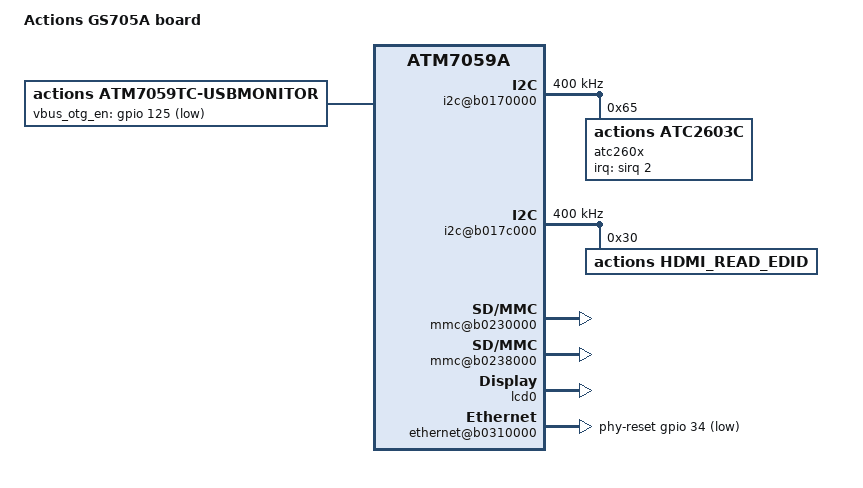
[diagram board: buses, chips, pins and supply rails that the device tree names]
/dts-v1/;

/include/ "actduino.dtsi"
#include <dt-bindings/input/input.h>

/ {
	model = "Actions GS705A board";
	compatible = "actions,gs705a", "actions,atm7059a";
	chosen {
		bootargs = "console=ttyS5 loglevel=7";
	};

	clock:0b0160000 {
		compatible = "actions,owl-clk";
		core_pll = <0x332>;
		dev_pll = <0x1164>;
		bus_pll = <0x1c710000>;
		display_pll = <0x164>;
		bus1_pll = <0x2e004>;
		clk_spead = <0x0>;
	};
	
	gpio_int {
		initgpio_A=<23 0 0>,<25 0 0>;/*<x1,x2,x3>,x1=PIN,x2=(0=OUT,1=IN),x3=IOVAL*/
		initgpio_B=<23 0 0>;
	};
    
	reserved {
		tiny {
			fb_heap_size = <4>;
			kinfo_heap_size = <1>;
			carveout_heap_size = <40>;
			dma_heap_size = <128>;
		};
		normal {
			fb_heap_size = <8>;
			kinfo_heap_size = <1>;
			carveout_heap_size = <244>;
			dma_heap_size = <98>;
		};
	};
	
	pinctrl@b01b0040 {
		pinctrl-names = "default";
		pinctrl-0 = <&state_default>;

		state_default: pinctrl_default {
		};

		i2c0_state_default: i2c0_default {/* i2c0 use default pin	*/
			i2c0_default_mfp {
				actions,groups = "mfp3_18_16";
				actions,function = "i2c0";
			};

			i2c0_default_paddrv {
				actions,groups = "paddrv2_24_23";
				actions,paddrv = <0>;/*level 1*/
			};

			i2c0_default_pull_up {
				actions,pins = "P_I2C0_SCLK","P_I2C0_SDATA";
				actions,pull = <2>; /*pull up*/
			};
		};

		i2c0_state_over_uart0: i2c0_over_uart0 {/* i2c0 use uart0 pin	*/
			i2c0_over_uart0_mfp {
				actions,groups = "mfp2_2_0", "mfp3_21_19";
				actions,function = "i2c0";
			};

			i2c0_over_uart0_paddrv {
				actions,groups = "paddrv2_31_30","paddrv2_29_28";
				actions,paddrv = <0>;/*level 1*/
			};

			i2c0_over_uart0_pull_up {
				actions,pins = "P_UART0_RX","P_UART0_TX";
				actions,pull = <2>; /*pull up*/
			};
		};	

		i2c1_state_default: i2c1_default {/* i2c1 use default pin	*/
			i2c1_default_mfp {
				actions,groups = "i2c1_dummy";
				actions,function = "i2c1";
			};

			i2c1_default_paddrv {
				actions,groups = "paddrv2_22_21";
				actions,paddrv = <0>;/*level 1*/
			};

			i2c1_default_pull_up {
				actions,pins = "P_I2C1_SCLK","P_I2C1_SDATA";
				actions,pull = <0>;	/*stay disabled*/
			};
		};

		i2c2_state_default: i2c2_default {/* i2c2 use default pin*/
			i2c2_default_mfp {
				actions,groups = "i2c2_dummy";
				actions,function = "i2c2";
			};

			i2c2_default_paddrv {
				actions,groups = "paddrv2_22_21";
				actions,paddrv = <0>;/*level 1*/
			};

			i2c2_default_pull_up {
				actions,pins = "P_I2C2_SCLK","P_I2C2_SDATA";
				actions,pull = <2>; /*pull up*/
			};
		};
		
		i2c3_state_over_spi0: i2c3_over_spi0 {/* i2c3 use spi0 pin	*/
			i2c3_over_spi0_mfp {
				actions,groups = "mfp1_4_3";
				actions,function = "i2c3";
			};

			i2c3_over_spi0_paddrv {
				actions,groups = "paddrv1_11_10";
				actions,paddrv = <0>;/*level 1*/
			};

			i2c3_over_spi0_pull_up {
				actions,pins = "P_SPI0_SCLK","P_SPI0_MOSI";
				actions,pull = <2>; /*pull up*/
			};
		};				

		pwm0_state_default: pwm0_default {
			pwm0_mfp {
				actions,groups = "mfp1_31_29_ks_in2";
				actions,function = "pwm0";
			};
		};

		pwm1_state_default: pwm1_default {
			pwm1_mfp {
				actions,groups = "mfp1_28_26_ks_in3";
				actions,function = "pwm1";
			};
		};
		
		pwm2_state_default: pwm2_default {
			pwm2_mfp {
				actions,groups = "mfp1_25_23";
				actions,function = "pwm2";
			};
		};
		
		pwm3_state_default: pwm3_default {
			pwm3_mfp {
				actions,groups = "mfp1_28_26_ks_out1";
				actions,function = "pwm3";
			};
		};
		
		lvds_state_default: lvds_default {
			lvds_mux {
				actions,groups = "mfp1_22_21", "mfp1_6_5", "mfp2_28_27";
				actions,function = "lvds";
			};
		};
		rgb_state_default: rgb_default {
			rgb_mux {
				actions,groups = "mfp0_25_23","mfp1_16_14", "mfp1_22_21", "mfp1_13_12", "mfp1_11_10", "mfp1_6_5", "mfp2_30_29", "mfp2_28_27";
				actions,function = "lcd0";
			};
		};
		
		dsi_state_default: dsi_default {
			dsi_mux {
				actions,groups = "mfp1_20_19", "mfp1_18_17", "mfp1_13_12", "mfp1_11_10", "mfp1_9_7", "mfp2_30_29";
				actions,function = "dsi";
			};
		};
	};

	i2c@b0170000 {
		i2c_num = <0>;
		clock-frequency = <400000>;
		status = "okay";
		pinctrl-names = "default";
		pinctrl-0 = <&i2c0_state_default>;
		#address-cells = <1>;
		#size-cells = <0>;	
		
		/* atc2603c (5307) */
		atc260x: atc2603c@65 {
			compatible = "actions,atc2603c";
			reg = <0x65>;
			interrupt-parent = <&sirq>;
			interrupts =< 2 0x4 >;
			interrupt-controller;
			#interrupt-cells = <1>;

			atc260x-adckeypad{
			    compatible = "actions,atc2603c-adckeypad";
                            adc_channel_name = "AUX0";          /* the ADC channel used for sampling, valid names are REMCON AUX0 AUX1 AUX2 (AUX3) */
                            keymapsize = <4>; /* number of ADC key */
                            left_adc_val =  <0 90 175 270>;     /* for key code translator, each value defines a lower bound of ADC value of a key */
                            right_adc_val = <30 120 220 320>;   /* for key code translator, each value defines a upper bound of ADC value of a key */
                            key_val = <KEY_HOME KEY_MENU KEY_VOLUMEUP KEY_VOLUMEDOWN>; /* for key code translator, each value defines the key_code of a key */
                        };

			atc260x-power{
				compatible = "actions,atc2603c-power";
				support_adaptor_type = <2>;      /*1: DCIN  2: USB  3:DCIN+USB*/
				gauge_bus_id = <2>;      /*gauge bus id: 0~n*/
				gauge_id = <1>;      /*0:default gauge, 1:hwgauge*/
				boot_cap_threshold = <7>;     /*7%,the lowest capacity permitted to boot*/ 
				support_minicharger = < 1 >;	/* 1:support minicharer  0:do not support minicharger */  
			};
		};
	};

	i2c@b017c000 {
		i2c_num = <3>;
		clock-frequency = <400000>;
		status = "okay";
		pinctrl-names = "default";
		pinctrl-0 = <&i2c3_state_over_spi0>;	
		hdmi_read_edid@30 {
			compatible = "actions,hdmi_read_edid";
			reg = <0x30>;
		};	
	};

	spi@b0200000 {
		status = "disabled";
	};

	spi@b0204000 {
		status = "disabled";
	};
	
	spi@b0208000 {
		status = "disabled";
	};

	spi@b020c000 {
		status = "disabled";
	};

	gpio@b01b0000 {
		status = "okay";
	};

	mmc@b0230000 {
		status = "okay";
	};

	mmc@b0234000 {
		status = "disabled";
	};

	mmc@b0238000 {
		status = "okay";
	};
	
	monitor {
		compatible = "actions,atm7059tc-usbmonitor";
		vbus_otg_en_gpios = <&gpio 125 1>;  /* GPIOC14,  0: low active; 1: high active */
		status = "okay";
	};

	framebuffer {
		compatible = "actions,framebuffer";
		def_display  = "lcd";
		bpp = <4>; 
	};

		
	lcd0: lcd0@b02a0000 {
		status = "okay";
		pinctrl-names = "default";
		pinctrl-0 = <&rgb_state_default>;
		lcd_power_gpios = <&gpio 36 0>; /* ksd 为GPIOB4,36=32+4, GB5为GPIOD30, 126=32*3+30*/
		//lcdvcc-supply = <&switch1>;/*LCDVCC通过PMU供电switch1，KSD的扩展版为SYSPWR供电*/
		//lcd_reset_gpios = <&gpio 115 0>; /*GPIOD19 ksd 为NULL,需要注释掉, GB5为GPIOD19, 115=32*3+30,KSD的扩展版为SYSPWR控制**/
		port_type = "rgb";
		data_width = <1>;//24BIT
		videomode-0 = <&lcd_mode0>;
		vsync_inversion = <0>;
		hsync_inversion = <0>;
		dclk_inversion = <0>;
		lde_inversion = <0>;
		//lvds_ctl = <0x000a9521>;/*lvds特有*/
		//lvds_alg_ctl0 = <0xc141a030>;
		lightness = <128>;
		saturation = <7>;
		contrast = <5>;
		
		lcd_mode0:mode@1024x600p60 {
			refresh = <60>;
			xres = <1024>;
			yres = <600>;
			/*in pico second, 0.000 000 000 001s*/
			pixclock = <19531>;
			left_margin = <140>;
			right_margin = <150>;
			upper_margin = <10>;
			lower_margin = <20>;
			hsync_len = <10>;
			vsync_len = <5>;
			/*0: FB_VMODE_NONINTERLACED, 1:FB_VMODE_INTERLACED*/
			vmode = <0>;
		};
		
		lcd_mode1:mode@480x272p60 {
			refresh = <60>;
			xres = <480>;
			yres = <272>;
			/*in pico second, 0.000 000 000 001s*/
			pixclock = <20000>;
			left_margin = <140>;
			right_margin = <150>;
			upper_margin = <10>;
			lower_margin = <20>;
			hsync_len = <10>;
			vsync_len = <5>;
			/*0: FB_VMODE_NONINTERLACED, 1:FB_VMODE_INTERLACED*/
			vmode = <0>;
		};
	};

	dsi: dsi@b0220000 {
		status = "disabled";
	};

	hdmi:hdmi@b02c0000{
		hdcp_onoff = <0>;
		channel_invert = <0>;
		bit_invert = <0>;
		bootable = <1>; 
		i2cbus = <3>;
		bootrotate = <0>;   
		default_resolution = "auto";
	};

	pwm: pwm@b01b0050 {
		pwm0 {
			id = <0>;
			pinctrl-names = "default";
			pinctrl-0 = <&pwm0_state_default>;
		};
		pwm1 {
			id = <1>;
			pinctrl-names = "default";
			pinctrl-0 = <&pwm1_state_default>;
		};
		pwm2 {
			id = <2>;
			pinctrl-names = "default";
			pinctrl-0 = <&pwm2_state_default>;
		};
		pwm3 {
			id = <3>;
			pinctrl-names = "default";
			pinctrl-0 = <&pwm3_state_default>;
		};
	};

	ethernet@b0310000 {
		compatible = "actions,owl-ethernet";
		phy_addr = <1>;
		status = "okay";
		phy-power-gpios = <&gpio 28 0>;
		phy-reset-gpios = <&gpio 34 1>;
	};

	backlight {
		/*1.pwm num; 2. period in ns; */
		/*3.plarity, 0: high active, 1: low active*/
		backlight_en_gpios = <&gpio 124 0>; /*KSD FRANK GPIOD28 32*3+28*/ 
		pwms = <&pwm 0 50000 1>;/*S500 LED_PWM L21 PWM0/GPIOB5/KS_IN2*/ 
		total_steps = <1024>;
		min_brightness = <240>;
		max_brightness = <800>;
		dft_brightness = <340>;
		delay_bf_pwm  = <200>;
		delay_af_pwm  = <10>;	
	};
};
